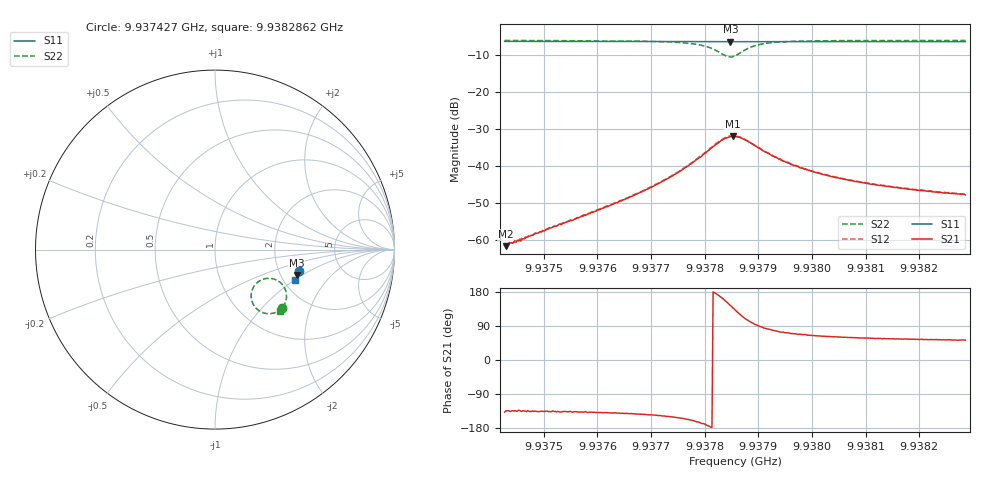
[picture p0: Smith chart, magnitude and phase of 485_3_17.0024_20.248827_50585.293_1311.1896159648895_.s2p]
#  HZ  S  RI  R  50.00
! Rohde & Schwarz Vector Network Analyzer
! Rohde-Schwarz,ZNB20-2Port,1311601062101988,3.16
! Created: UTC 3/20/2024, 11:13:51 PM
! freq[Hz]  re:S11  im:S11  re:S21  im:S21  re:S12  im:S12  re:S22  im:S22
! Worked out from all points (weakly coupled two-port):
!   401 points, 9.937427 GHz to 9.9382862 GHz, reference 50 ohm
!   highest |S21| = -31.93 dB at 9.9378523 GHz (marker M1); lowest = -61.6 dB at 9.9374291 GHz (marker M2)
!   lowest |S11| = -6.4 dB at 9.937848 GHz (marker M3), VSWR 2.83, Z = 122 - j45.3 ohm
!   |S11| at or under -10 dB: nowhere
!   |S22| runs from -10.5 to -6.1 dB; largest |S21 - S12| = 0.0011
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9.93742698e9  0.4687 -0.1168  -0.000624 -0.00058  -0.000604 -0.000579  0.3758 -0.3253
9.93742913e9  0.4686 -0.1171  -0.000578 -0.000595  -0.000599 -0.000576  0.3757 -0.3254
9.9374592e9  0.4681 -0.119  -0.000734 -0.000711  -0.000761 -0.00076  0.3729 -0.3278
9.93751505e9  0.4666 -0.1228  -0.00105 -0.00103  -0.0011 -0.00104  0.3673 -0.3324
9.9375709e9  0.4654 -0.1265  -0.00155 -0.00144  -0.00156 -0.00142  0.3603 -0.3376
9.93765467e9  0.4635 -0.1322  -0.00283 -0.00229  -0.00291 -0.0023  0.3447 -0.3466
9.93771482e9  0.4618 -0.1363  -0.00489 -0.00323  -0.00501 -0.00321  0.3241 -0.3539
9.93775778e9  0.4606 -0.1393  -0.00799 -0.0039  -0.00818 -0.00379  0.2967 -0.3568
9.93780074e9  0.4586 -0.142  -0.0147 -0.00271  -0.0151 -0.00245  0.243 -0.3389
9.93781578e9  0.4578 -0.1427  -0.0183 0.000121  -0.0188 0.000487  0.2179 -0.3126
9.93783082e9  0.4569 -0.1432  -0.0214 0.00557  -0.0216 0.00625  0.2015 -0.265
9.937848e9  0.4563 -0.1432  -0.0202 0.0147  -0.0201 0.0156  0.2245 -0.1947
9.9378523e9  0.4565 -0.143  -0.0188 0.017  -0.0184 0.0179  0.2392 -0.1805
9.93785659e9  0.4565 -0.1432  -0.0169 0.0185  -0.0167 0.0195  0.2564 -0.1697
9.93786733e9  0.4568 -0.1434  -0.0116 0.0212  -0.011 0.0218  0.3018 -0.1598
9.93788237e9  0.4574 -0.1441  -0.00475 0.0206  -0.00418 0.0209  0.3525 -0.1749
9.937906e9  0.4574 -0.1462  0.000857 0.0166  0.00136 0.0168  0.3888 -0.2158
9.93794896e9  0.4568 -0.1495  0.00354 0.011  0.00367 0.011  0.3987 -0.2654
9.93800051e9  0.4555 -0.1533  0.00361 0.00769  0.0038 0.00771  0.3926 -0.294
9.9380671e9  0.454 -0.1577  0.00331 0.00559  0.00344 0.00562  0.3839 -0.3125
9.93814444e9  0.4519 -0.1628  0.00296 0.00437  0.00305 0.00437  0.3754 -0.3253
9.93828621e9  0.4479 -0.1718  0.0025 0.00323  0.00262 0.00329  0.3631 -0.3395
